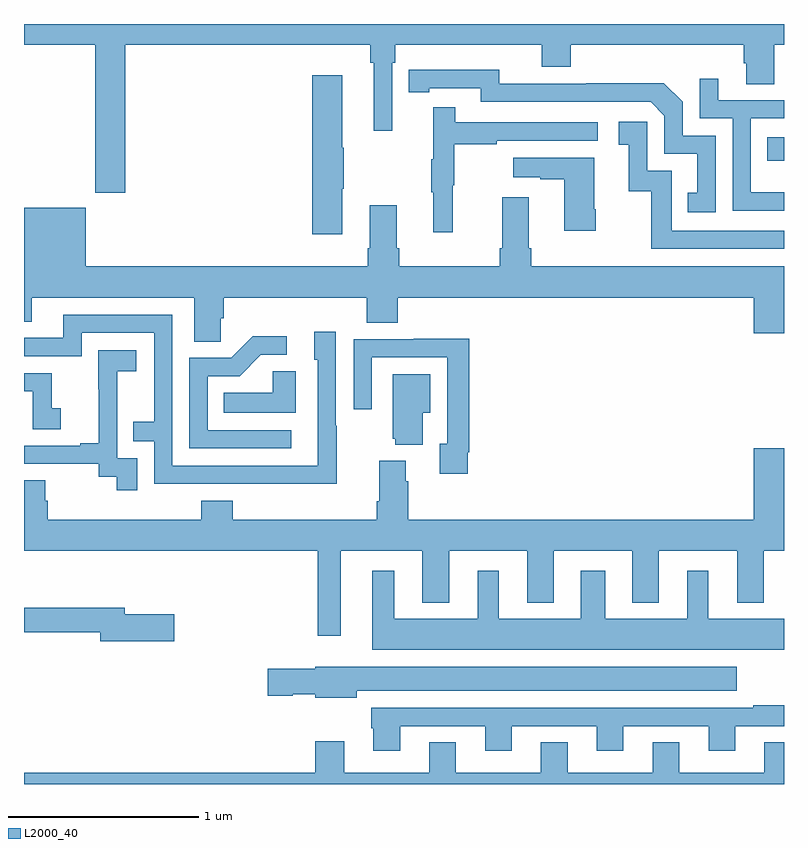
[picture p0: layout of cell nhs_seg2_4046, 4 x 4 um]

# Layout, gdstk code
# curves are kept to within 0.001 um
import gdstk
lib = gdstk.Library(unit=1e-6, precision=1e-09)
def R(c, l, rs):  # rectangles x0, y0, x1, y1
    for r in rs: c.add(gdstk.rectangle(r[:2], r[2:], *l))
def P(c, l, *ps):  # polygons
    for p in ps: c.add(gdstk.Polygon(p, *l))
L2000_40 = (2000, 40)

nhs_seg2_4046 = lib.new_cell('nhs_seg2_4046')
R(nhs_seg2_4046, L2000_40, [(332.911,591.081,333,591.204)])
P(nhs_seg2_4046, L2000_40, [(329.534,591.692),(330.823,591.692),(330.823,591.596),(330.842,591.596),(330.842,591.237),(330.939,591.237),(330.939,591.596),(330.953,591.596),(330.953,591.692),(331.724,591.692),(331.724,591.575),(331.877,591.575),(331.877,591.692),(332.789,591.692),(332.789,591.594),(332.801,591.594),(332.801,591.484),(332.949,591.484),(332.949,591.692),(333,591.692),(333,591.8),(329,591.8),(329,591.692),(329.374,591.692),(329.374,590.913),(329.534,590.913)],
  [(332.64,591.213),(332.466,591.213),(332.466,591.39),(332.368,591.488),(331.96,591.488),(331.96,591.486),(331.5,591.486),(331.5,591.559),(331.024,591.558),(331.024,591.442),(331.132,591.442),(331.132,591.462),(331.404,591.462),(331.404,591.39),(332.298,591.39),(332.37,591.318),(332.37,591.117),(332.543,591.117),(332.543,590.913),(332.494,590.913),(332.494,590.808),(332.64,590.808)],
  [(330.676,590.932),(330.684,590.932),(330.684,591.149),(330.676,591.149),(330.676,591.529),(330.518,591.529),(330.518,590.694),(330.676,590.694)],
  [(333,590.914),(332.826,590.914),(332.826,591.303),(333,591.303),(333,591.399),(332.653,591.399),(332.653,591.511),(332.556,591.511),(332.556,591.303),(332.73,591.303),(332.73,590.817),(333,590.817)],
  [(331.256,590.952),(331.264,590.952),(331.264,591.166),(331.487,591.166),(331.487,591.186),(332.02,591.186),(332.02,591.282),(331.271,591.282),(331.271,591.361),(331.154,591.361),(331.154,591.089),(331.143,591.089),(331.143,590.915),(331.154,590.915),(331.154,590.703),(331.256,590.703)],
  [(333,590.712),(332.409,590.712),(332.409,591.027),(332.28,591.027),(332.28,591.286),(332.13,591.286),(332.13,591.165),(332.183,591.165),(332.183,590.919),(332.301,590.919),(332.301,590.616),(333,590.616)],
  [(332.01,590.824),(332.002,590.824),(332.002,591.097),(331.575,591.097),(331.575,590.993),(331.718,590.993),(331.718,590.983),(331.844,590.983),(331.844,590.712),(332.01,590.712)],
  [(330.036,590.251),(330.05,590.251),(330.05,590.36),(330.803,590.36),(330.803,590.227),(330.968,590.227),(330.968,590.36),(332.84,590.36),(332.84,590.172),(333,590.172),(333,590.524),(331.67,590.524),(331.67,590.62),(331.657,590.62),(331.657,590.887),(331.517,590.887),(331.517,590.62),(331.505,590.62),(331.505,590.524),(330.974,590.524),(330.974,590.62),(330.961,590.62),(330.961,590.845),(330.821,590.845),(330.821,590.62),(330.809,590.62),(330.809,590.524),(329.326,590.524),(329.326,590.833),(329,590.833),(329,590.233),(329.041,590.233),(329.041,590.36),(329.897,590.36),(329.897,590.128),(330.036,590.128)],
  [(330.645,589.685),(330.642,589.685),(330.642,590.179),(330.527,590.179),(330.527,590.034),(330.546,590.034),(330.546,589.476),(329.781,589.476),(329.781,590.271),(329.207,590.271),(329.207,590.148),(329,590.148),(329,590.052),(329.304,590.052),(329.304,590.175),(329.685,590.175),(329.685,589.706),(329.575,589.706),(329.575,589.605),(329.685,589.605),(329.685,589.38),(330.181,589.38),(330.181,589.379),(330.645,589.379)],
  [(330.406,589.662),(329.967,589.662),(329.967,589.947),(330.136,589.947),(330.247,590.058),(330.382,590.058),(330.382,590.156),(330.203,590.156),(330.09,590.043),(329.871,590.043),(329.871,589.566),(330.406,589.566)],
  [(331.336,589.546),(331.343,589.546),(331.343,590.144),(331.051,590.144),(331.051,590.142),(330.735,590.142),(330.735,589.773),(330.831,589.773),(330.831,590.046),(331.227,590.046),(331.227,589.59),(331.187,589.59),(331.187,589.434),(331.336,589.434)],
  [(329.595,589.515),(329.49,589.515),(329.49,589.745),(329.492,589.745),(329.492,589.973),(329.59,589.973),(329.59,590.083),(329.392,590.083),(329.392,589.877),(329.393,589.877),(329.393,589.594),(329.297,589.594),(329.297,589.581),(329,589.581),(329,589.485),(329.394,589.485),(329.394,589.417),(329.487,589.417),(329.487,589.347),(329.595,589.347)],
  [(330.43,589.973),(330.309,589.973),(330.309,589.858),(330.052,589.858),(330.052,589.754),(330.43,589.754)],
  [(329.194,589.777),(329.145,589.777),(329.145,589.962),(329,589.962),(329,589.866),(329.046,589.866),(329.046,589.668),(329.194,589.668)],
  [(331.099,589.754),(331.138,589.754),(331.138,589.957),(330.941,589.957),(330.941,589.617),(330.953,589.617),(330.953,589.586),(331.099,589.586)],
  [(330.667,589.028),(331.097,589.028),(331.097,588.755),(331.237,588.755),(331.237,589.028),(331.649,589.028),(331.649,588.755),(331.789,588.755),(331.789,589.028),(332.201,589.028),(332.201,588.755),(332.341,588.755),(332.341,589.028),(332.753,589.028),(332.753,588.755),(332.893,588.755),(332.893,589.028),(333,589.028),(333,589.567),(332.84,589.567),(332.84,589.192),(331.022,589.192),(331.022,589.394),(331.009,589.394),(331.009,589.501),(330.869,589.501),(330.869,589.288),(330.857,589.288),(330.857,589.192),(330.098,589.192),(330.098,589.291),(329.933,589.291),(329.933,589.192),(329.126,589.192),(329.126,589.29),(329.113,589.29),(329.113,589.4),(329,589.4),(329,589.028),(330.546,589.028),(330.546,588.579),(330.667,588.579)],
  [(333,588.67),(332.602,588.67),(332.602,588.922),(332.492,588.922),(332.492,588.67),(332.059,588.67),(332.059,588.922),(331.931,588.922),(331.931,588.67),(331.498,588.67),(331.498,588.922),(331.388,588.922),(331.388,588.67),(330.949,588.67),(330.949,588.922),(330.833,588.922),(330.833,588.506),(333,588.506)],
  [(329.791,588.693),(329.53,588.693),(329.53,588.727),(329,588.727),(329,588.598),(329.402,588.598),(329.402,588.551),(329.791,588.551)],
  [(330.751,588.29),(332.752,588.29),(332.752,588.418),(330.534,588.418),(330.534,588.407),(330.282,588.407),(330.282,588.265),(330.414,588.265),(330.414,588.272),(330.534,588.272),(330.534,588.254),(330.751,588.254)],
  [(330.979,588.105),(331.427,588.105),(331.427,587.976),(331.567,587.976),(331.567,588.105),(332.015,588.105),(332.015,587.976),(332.155,587.976),(332.155,588.105),(332.603,588.105),(332.603,587.976),(332.743,587.976),(332.743,588.105),(333,588.105),(333,588.214),(332.839,588.214),(332.839,588.201),(330.827,588.201),(330.827,588.093),(330.839,588.093),(330.839,587.976),(330.979,587.976)],
  [(333,588.02),(332.897,588.02),(332.897,587.86),(332.449,587.86),(332.449,588.02),(332.309,588.02),(332.309,587.86),(331.861,587.86),(331.861,588.02),(331.721,588.02),(331.721,587.86),(331.273,587.86),(331.273,588.02),(331.133,588.02),(331.133,587.86),(330.685,587.86),(330.685,588.025),(330.533,588.025),(330.533,587.86),(329,587.86),(329,587.8),(333,587.8)])

lib.write_gds('nhs_seg2_4046.gds')
